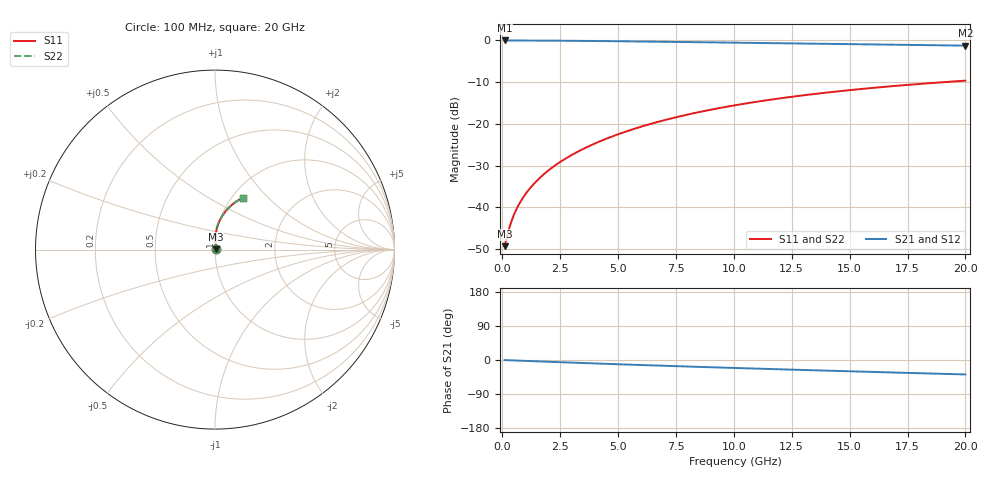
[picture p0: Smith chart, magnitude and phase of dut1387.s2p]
! Touchstone file exported from HFSS 2024.1.0
!  File:  C:/UserFiles/LocalFiles/RDL_TSV_Batchsim/temp_RDL_bottom_1387_1780371860.aedt
!  Generated:  11:47:02 AM Jun  2, 2026
!  Design:  RDL_bottom
!  Project:  temp_RDL_bottom_1387_1780371860
!  Setup:  Setup1
!  Solution:  Sweep
! Variables:
!  dtsv = 10.80580581um
!  hbump = 3um
!  htsv = 77.34um
!  ldown = 526.44um
!  lrdl = 100um
!  p = 40
!  p1 = 55.34um
!  rhole = 1um
!  t = 450um
!  tdown = 2.45um
!  trdl = 3.915915916um
!  wdown = 28.2um
!  wrdl = 20um
# GHz S MA R 50.000000
! Terminal data exported
! Port[1] = RDL1_T1
! Port[2] = RDL1_T2
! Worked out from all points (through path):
!   200 points, 100 MHz to 20 GHz, reference 50 ohm
!   highest |S21| = -0.03 dB at 100 MHz (marker M1); lowest = -1.3 dB at 20 GHz (marker M2)
!   group delay of S21, straight-line fit = 5.23 ps
!   lowest |S11| = -49.3 dB at 100 MHz (marker M3), VSWR 1.01, Z = 50.3 + j0.158 ohm
!   |S11| at or under -10 dB: start of sweep to 19.09 GHz
!   |S22| runs from -49.3 to -9.7 dB; largest |S21 - S12| = 3.4e-15
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0.1  0.003426 27.3  0.9969 -0.2  0.9969 -0.2  0.003426 27.3
! Gamma 0 0 0 0
! Port Impedance 50 0 50 0
0.3  0.005622 54.0  0.9966 -0.7  0.9966 -0.7  0.005622 54.0
0.4  0.006864 59.9  0.9963 -1.0  0.9963 -1.0  0.006864 59.9
0.5  0.008108 64.0  0.9961 -1.2  0.9961 -1.2  0.008108 64.0
0.6  0.00935 67.1  0.9959 -1.4  0.9959 -1.4  0.00935 67.1
0.8  0.01185 71.7  0.9955 -1.9  0.9955 -1.9  0.01185 71.7
1  0.01438 75.0  0.995 -2.4  0.995 -2.4  0.01438 75.0
1.2  0.01696 77.5  0.9945 -2.8  0.9945 -2.8  0.01696 77.5
1.7  0.02364 81.7  0.9931 -4.0  0.9931 -4.0  0.02364 81.7
2.2  0.03062 84.3  0.9912 -5.1  0.9912 -5.1  0.03061 84.2
2.8  0.03938 86.2  0.9886 -6.5  0.9886 -6.5  0.03938 86.1
3.5  0.05015 87.4  0.9849 -8.0  0.9849 -8.0  0.05014 87.4
4.2  0.06145 87.9  0.9807 -9.5  0.9807 -9.5  0.06144 87.9
5  0.07496 87.8  0.9755 -11.2  0.9755 -11.2  0.07495 87.8
5.9  0.09076 87.2  0.9692 -13.1  0.9692 -13.1  0.09074 87.2
6.8  0.107 86.2  0.9627 -14.9  0.9627 -14.9  0.107 86.1
8.4  0.1365 83.6  0.9507 -18.0  0.9507 -18.0  0.1364 83.6
10.1  0.1678 80.5  0.938 -21.2  0.938 -21.2  0.1677 80.5
11.7  0.1967 77.4  0.926 -24.1  0.926 -24.1  0.1967 77.4
13.4  0.2265 74.0  0.9133 -27.1  0.9133 -27.1  0.2264 74.0
16.7  0.2805 67.6  0.8887 -32.7  0.8887 -32.7  0.2804 67.6
20  0.329 61.6  0.8645 -38.1  0.8645 -38.1  0.3289 61.6
